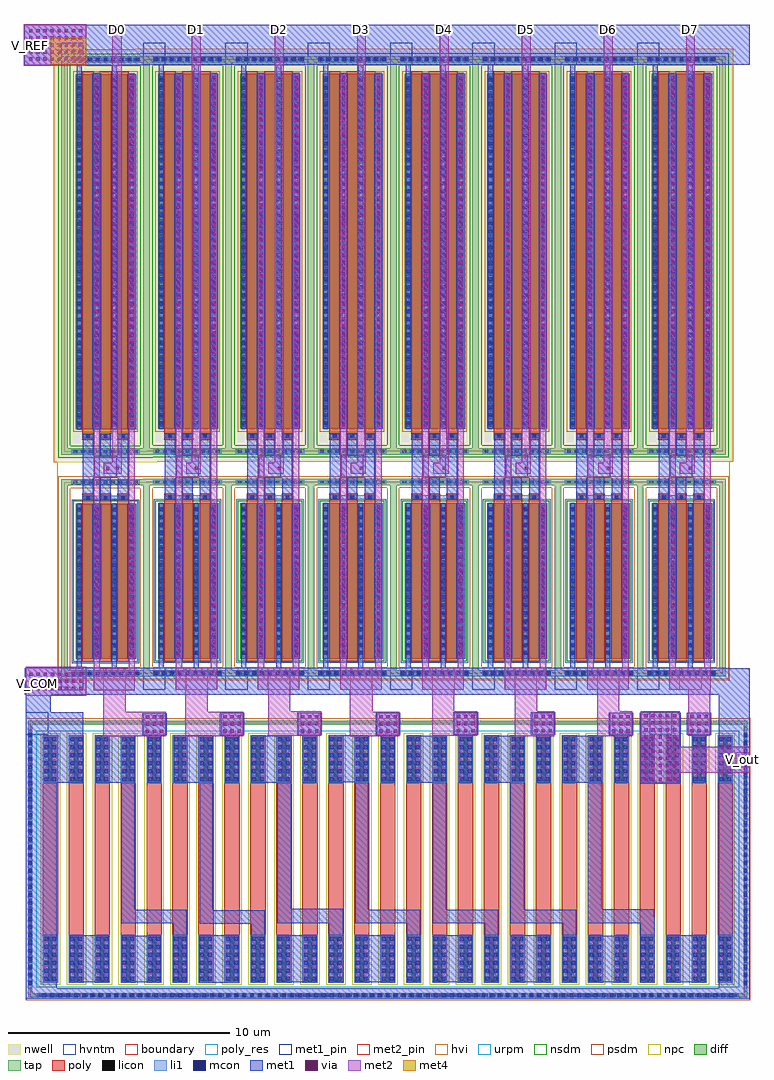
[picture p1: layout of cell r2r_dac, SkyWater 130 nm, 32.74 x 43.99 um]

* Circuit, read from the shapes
.subckt r2r_dac D0 D1 D2 D3 D4 D5 D6 D7 V_COM V_REF V_out
XM1 R2R_20k_0/B0 D0 V_COM V_COM sky130_fd_pr__nfet_g5v0d10v5 w=7 l=0.5 m=3
XM2 R2R_20k_0/B1 D1 V_COM V_COM sky130_fd_pr__nfet_g5v0d10v5 w=7 l=0.5 m=3
XM3 R2R_20k_0/B2 D2 V_COM V_COM sky130_fd_pr__nfet_g5v0d10v5 w=7 l=0.5 m=3
XM4 R2R_20k_0/B3 D3 V_COM V_COM sky130_fd_pr__nfet_g5v0d10v5 w=7 l=0.5 m=3
XM5 R2R_20k_0/B4 D4 V_COM V_COM sky130_fd_pr__nfet_g5v0d10v5 w=7 l=0.5 m=3
XM6 R2R_20k_0/B5 D5 V_COM V_COM sky130_fd_pr__nfet_g5v0d10v5 w=7 l=0.5 m=3
XM7 R2R_20k_0/B6 D6 V_COM V_COM sky130_fd_pr__nfet_g5v0d10v5 w=7 l=0.5 m=3
XM8 R2R_20k_0/B7 D7 V_COM V_COM sky130_fd_pr__nfet_g5v0d10v5 w=7 l=0.5 m=3
XM9 R2R_20k_0/B0 D0 V_REF V_REF sky130_fd_pr__pfet_g5v0d10v5 w=16 l=0.5 m=3
XM10 R2R_20k_0/B1 D1 V_REF V_REF sky130_fd_pr__pfet_g5v0d10v5 w=16 l=0.5 m=3
XM11 R2R_20k_0/B2 D2 V_REF V_REF sky130_fd_pr__pfet_g5v0d10v5 w=16 l=0.5 m=3
XM12 R2R_20k_0/B3 D3 V_REF V_REF sky130_fd_pr__pfet_g5v0d10v5 w=16 l=0.5 m=3
XM13 R2R_20k_0/B4 D4 V_REF V_REF sky130_fd_pr__pfet_g5v0d10v5 w=16 l=0.5 m=3
XM14 R2R_20k_0/B5 D5 V_REF V_REF sky130_fd_pr__pfet_g5v0d10v5 w=16 l=0.5 m=3
XM15 R2R_20k_0/B6 D6 V_REF V_REF sky130_fd_pr__pfet_g5v0d10v5 w=16 l=0.5 m=3
XM16 R2R_20k_0/B7 D7 V_REF V_REF sky130_fd_pr__pfet_g5v0d10v5 w=16 l=0.5 m=3
XR17 V_COM V_COM V_COM sky130_fd_pr__res_xhigh_po w=0.69 l=6.88 m=2
XR18 V_COM n1 V_COM sky130_fd_pr__res_xhigh_po w=0.69 l=6.88
XR19 n2 n1 V_COM sky130_fd_pr__res_xhigh_po w=0.69 l=6.88
XR20 n2 n3 V_COM sky130_fd_pr__res_xhigh_po w=0.69 l=6.88
XR21 R2R_20k_0/B0 n3 V_COM sky130_fd_pr__res_xhigh_po w=0.69 l=6.88
XR22 n4 n2 V_COM sky130_fd_pr__res_xhigh_po w=0.69 l=6.88
XR23 n4 n5 V_COM sky130_fd_pr__res_xhigh_po w=0.69 l=6.88
XR24 R2R_20k_0/B1 n5 V_COM sky130_fd_pr__res_xhigh_po w=0.69 l=6.88
XR25 n6 n4 V_COM sky130_fd_pr__res_xhigh_po w=0.69 l=6.88
XR26 n6 n7 V_COM sky130_fd_pr__res_xhigh_po w=0.69 l=6.88
XR27 R2R_20k_0/B2 n7 V_COM sky130_fd_pr__res_xhigh_po w=0.69 l=6.88
XR28 n8 n6 V_COM sky130_fd_pr__res_xhigh_po w=0.69 l=6.88
XR29 n8 n9 V_COM sky130_fd_pr__res_xhigh_po w=0.69 l=6.88
XR30 R2R_20k_0/B3 n9 V_COM sky130_fd_pr__res_xhigh_po w=0.69 l=6.88
XR31 n10 n8 V_COM sky130_fd_pr__res_xhigh_po w=0.69 l=6.88
XR32 n10 n11 V_COM sky130_fd_pr__res_xhigh_po w=0.69 l=6.88
XR33 R2R_20k_0/B4 n11 V_COM sky130_fd_pr__res_xhigh_po w=0.69 l=6.88
XR34 n12 n10 V_COM sky130_fd_pr__res_xhigh_po w=0.69 l=6.88
XR35 n12 n13 V_COM sky130_fd_pr__res_xhigh_po w=0.69 l=6.88
XR36 R2R_20k_0/B5 n13 V_COM sky130_fd_pr__res_xhigh_po w=0.69 l=6.88
XR37 n14 n12 V_COM sky130_fd_pr__res_xhigh_po w=0.69 l=6.88
XR38 n14 n15 V_COM sky130_fd_pr__res_xhigh_po w=0.69 l=6.88
XR39 R2R_20k_0/B6 n15 V_COM sky130_fd_pr__res_xhigh_po w=0.69 l=6.88
XR40 V_out n14 V_COM sky130_fd_pr__res_xhigh_po w=0.69 l=6.88
XR41 V_out n16 V_COM sky130_fd_pr__res_xhigh_po w=0.69 l=6.88
XR42 R2R_20k_0/B7 n16 V_COM sky130_fd_pr__res_xhigh_po w=0.69 l=6.88
.ends

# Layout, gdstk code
import gdstk
lib = gdstk.Library(unit=1e-6, precision=1e-09)
def R(c, l, rs):  # rectangles x0, y0, x1, y1
    for r in rs: c.add(gdstk.rectangle(r[:2], r[2:], *l))
def A(c, l, x, y, w, h, nx, ny, dx, dy):  # array of equal rectangles
    R(c, l, [(x+i*dx, y+j*dy, x+i*dx+w, y+j*dy+h) for i in range(nx) for j in range(ny)])
nwell = (64, 20)
diff = (65, 20)
tap = (65, 44)
poly_res = (66, 13)
poly = (66, 20)
licon = (66, 44)
li1 = (67, 20)
mcon = (67, 44)
met1_pin = (68, 16)
met1 = (68, 20)
via = (68, 44)
met2_pin = (69, 16)
met2 = (69, 20)
met4 = (71, 20)
hvi = (75, 20)
urpm = (79, 20)
nsdm = (93, 44)
psdm = (94, 20)
npc = (95, 20)
hvntm = (125, 20)
boundary = (235, 4)

sky130_fd_pr__res_xhigh_ = lib.new_cell('sky130_fd_pr__res_xhigh_po_0p69_C3M8XK')
R(sky130_fd_pr__res_xhigh_, tap, [(-16.205,-6.23,16.205,-6.06), (-16.205,-6.06,-16.035,6.06), (16.035,-6.06,16.205,6.06), (-16.205,6.06,16.205,6.23)])
A(sky130_fd_pr__res_xhigh_, poly_res, -15.555, -3.5, 0.69, 7, 27, 1, 1.17, 0)
A(sky130_fd_pr__res_xhigh_, poly, -15.555, -5.58, 0.69, 11.16, 27, 1, 1.17, 0)
A(sky130_fd_pr__res_xhigh_, licon, -15.725, -6.23, 0.17, 0.17, 93, 1, 0.34, 0)
A(sky130_fd_pr__res_xhigh_, licon, -16.205, -5.695, 0.17, 0.17, 1, 34, 0, 0.34)
A(sky130_fd_pr__res_xhigh_, licon, 16.035, -5.695, 0.17, 0.17, 1, 34, 0, 0.34)
A(sky130_fd_pr__res_xhigh_, licon, -15.305, -5.5, 0.19, 2, 27, 2, 1.17, 9)
A(sky130_fd_pr__res_xhigh_, li1, -15.555, -5.58, 0.69, 2.16, 27, 2, 1.17, 9)
R(sky130_fd_pr__res_xhigh_, li1, [(-15.805,-6.23,15.805,-6.06), (-16.205,-5.83,-16.035,5.83), (16.035,-5.83,16.205,5.83)])
A(sky130_fd_pr__res_xhigh_, mcon, -15.475, -5.485, 0.17, 0.17, 1, 6, 0, 0.36)
A(sky130_fd_pr__res_xhigh_, mcon, -15.115, -5.485, 0.17, 0.17, 1, 6, 0, 0.36)
A(sky130_fd_pr__res_xhigh_, mcon, -14.305, -5.485, 0.17, 0.17, 1, 6, 0, 0.36)
A(sky130_fd_pr__res_xhigh_, mcon, -13.945, -5.485, 0.17, 0.17, 1, 6, 0, 0.36)
A(sky130_fd_pr__res_xhigh_, mcon, -13.135, -5.485, 0.17, 0.17, 1, 6, 0, 0.36)
A(sky130_fd_pr__res_xhigh_, mcon, -12.775, -5.485, 0.17, 0.17, 1, 6, 0, 0.36)
A(sky130_fd_pr__res_xhigh_, mcon, -11.965, -5.485, 0.17, 0.17, 1, 6, 0, 0.36)
A(sky130_fd_pr__res_xhigh_, mcon, -11.605, -5.485, 0.17, 0.17, 1, 6, 0, 0.36)
A(sky130_fd_pr__res_xhigh_, mcon, -10.795, -5.485, 0.17, 0.17, 1, 6, 0, 0.36)
A(sky130_fd_pr__res_xhigh_, mcon, -10.435, -5.485, 0.17, 0.17, 1, 6, 0, 0.36)
A(sky130_fd_pr__res_xhigh_, mcon, -9.625, -5.485, 0.17, 0.17, 1, 6, 0, 0.36)
A(sky130_fd_pr__res_xhigh_, mcon, -9.265, -5.485, 0.17, 0.17, 1, 6, 0, 0.36)
A(sky130_fd_pr__res_xhigh_, mcon, -8.455, -5.485, 0.17, 0.17, 1, 6, 0, 0.36)
A(sky130_fd_pr__res_xhigh_, mcon, -8.095, -5.485, 0.17, 0.17, 1, 6, 0, 0.36)
A(sky130_fd_pr__res_xhigh_, mcon, -7.285, -5.485, 0.17, 0.17, 1, 6, 0, 0.36)
A(sky130_fd_pr__res_xhigh_, mcon, -6.925, -5.485, 0.17, 0.17, 1, 6, 0, 0.36)
A(sky130_fd_pr__res_xhigh_, mcon, -6.115, -5.485, 0.17, 0.17, 1, 6, 0, 0.36)
A(sky130_fd_pr__res_xhigh_, mcon, -5.755, -5.485, 0.17, 0.17, 1, 6, 0, 0.36)
A(sky130_fd_pr__res_xhigh_, mcon, -4.945, -5.485, 0.17, 0.17, 1, 6, 0, 0.36)
A(sky130_fd_pr__res_xhigh_, mcon, -4.585, -5.485, 0.17, 0.17, 1, 6, 0, 0.36)
A(sky130_fd_pr__res_xhigh_, mcon, -3.775, -5.485, 0.17, 0.17, 1, 6, 0, 0.36)
A(sky130_fd_pr__res_xhigh_, mcon, -3.415, -5.485, 0.17, 0.17, 1, 6, 0, 0.36)
A(sky130_fd_pr__res_xhigh_, mcon, -2.605, -5.485, 0.17, 0.17, 1, 6, 0, 0.36)
A(sky130_fd_pr__res_xhigh_, mcon, -2.245, -5.485, 0.17, 0.17, 1, 6, 0, 0.36)
A(sky130_fd_pr__res_xhigh_, mcon, -1.435, -5.485, 0.17, 0.17, 1, 6, 0, 0.36)
A(sky130_fd_pr__res_xhigh_, mcon, -1.075, -5.485, 0.17, 0.17, 1, 6, 0, 0.36)
A(sky130_fd_pr__res_xhigh_, mcon, -0.265, -5.485, 0.17, 0.17, 1, 6, 0, 0.36)
A(sky130_fd_pr__res_xhigh_, mcon, 0.095, -5.485, 0.17, 0.17, 1, 6, 0, 0.36)
A(sky130_fd_pr__res_xhigh_, mcon, 0.905, -5.485, 0.17, 0.17, 1, 6, 0, 0.36)
A(sky130_fd_pr__res_xhigh_, mcon, 1.265, -5.485, 0.17, 0.17, 1, 6, 0, 0.36)
A(sky130_fd_pr__res_xhigh_, mcon, 2.075, -5.485, 0.17, 0.17, 1, 6, 0, 0.36)
A(sky130_fd_pr__res_xhigh_, mcon, 2.435, -5.485, 0.17, 0.17, 1, 6, 0, 0.36)
A(sky130_fd_pr__res_xhigh_, mcon, 3.245, -5.485, 0.17, 0.17, 1, 6, 0, 0.36)
A(sky130_fd_pr__res_xhigh_, mcon, 3.605, -5.485, 0.17, 0.17, 1, 6, 0, 0.36)
A(sky130_fd_pr__res_xhigh_, mcon, 4.415, -5.485, 0.17, 0.17, 1, 6, 0, 0.36)
A(sky130_fd_pr__res_xhigh_, mcon, 4.775, -5.485, 0.17, 0.17, 1, 6, 0, 0.36)
A(sky130_fd_pr__res_xhigh_, mcon, 5.585, -5.485, 0.17, 0.17, 1, 6, 0, 0.36)
A(sky130_fd_pr__res_xhigh_, mcon, 5.945, -5.485, 0.17, 0.17, 1, 6, 0, 0.36)
A(sky130_fd_pr__res_xhigh_, mcon, 6.755, -5.485, 0.17, 0.17, 1, 6, 0, 0.36)
A(sky130_fd_pr__res_xhigh_, mcon, 7.115, -5.485, 0.17, 0.17, 1, 6, 0, 0.36)
A(sky130_fd_pr__res_xhigh_, mcon, 7.925, -5.485, 0.17, 0.17, 1, 6, 0, 0.36)
A(sky130_fd_pr__res_xhigh_, mcon, 8.285, -5.485, 0.17, 0.17, 1, 6, 0, 0.36)
A(sky130_fd_pr__res_xhigh_, mcon, 9.095, -5.485, 0.17, 0.17, 1, 6, 0, 0.36)
A(sky130_fd_pr__res_xhigh_, mcon, 9.455, -5.485, 0.17, 0.17, 1, 6, 0, 0.36)
A(sky130_fd_pr__res_xhigh_, mcon, 10.265, -5.485, 0.17, 0.17, 1, 6, 0, 0.36)
A(sky130_fd_pr__res_xhigh_, mcon, 10.625, -5.485, 0.17, 0.17, 1, 6, 0, 0.36)
A(sky130_fd_pr__res_xhigh_, mcon, 11.435, -5.485, 0.17, 0.17, 1, 6, 0, 0.36)
A(sky130_fd_pr__res_xhigh_, mcon, 11.795, -5.485, 0.17, 0.17, 1, 6, 0, 0.36)
A(sky130_fd_pr__res_xhigh_, mcon, 12.605, -5.485, 0.17, 0.17, 1, 6, 0, 0.36)
A(sky130_fd_pr__res_xhigh_, mcon, 12.965, -5.485, 0.17, 0.17, 1, 6, 0, 0.36)
A(sky130_fd_pr__res_xhigh_, mcon, 13.775, -5.485, 0.17, 0.17, 1, 6, 0, 0.36)
A(sky130_fd_pr__res_xhigh_, mcon, 14.135, -5.485, 0.17, 0.17, 1, 6, 0, 0.36)
A(sky130_fd_pr__res_xhigh_, mcon, 14.945, -5.485, 0.17, 0.17, 1, 6, 0, 0.36)
A(sky130_fd_pr__res_xhigh_, mcon, 15.305, -5.485, 0.17, 0.17, 1, 6, 0, 0.36)
A(sky130_fd_pr__res_xhigh_, mcon, -15.475, 3.51, 0.17, 0.17, 1, 6, 0, 0.36)
A(sky130_fd_pr__res_xhigh_, mcon, -15.115, 3.51, 0.17, 0.17, 1, 6, 0, 0.36)
A(sky130_fd_pr__res_xhigh_, mcon, -14.305, 3.51, 0.17, 0.17, 1, 6, 0, 0.36)
A(sky130_fd_pr__res_xhigh_, mcon, -13.945, 3.51, 0.17, 0.17, 1, 6, 0, 0.36)
A(sky130_fd_pr__res_xhigh_, mcon, -13.135, 3.51, 0.17, 0.17, 1, 6, 0, 0.36)
A(sky130_fd_pr__res_xhigh_, mcon, -12.775, 3.51, 0.17, 0.17, 1, 6, 0, 0.36)
A(sky130_fd_pr__res_xhigh_, mcon, -11.965, 3.51, 0.17, 0.17, 1, 6, 0, 0.36)
A(sky130_fd_pr__res_xhigh_, mcon, -11.605, 3.51, 0.17, 0.17, 1, 6, 0, 0.36)
A(sky130_fd_pr__res_xhigh_, mcon, -10.795, 3.51, 0.17, 0.17, 1, 6, 0, 0.36)
A(sky130_fd_pr__res_xhigh_, mcon, -10.435, 3.51, 0.17, 0.17, 1, 6, 0, 0.36)
A(sky130_fd_pr__res_xhigh_, mcon, -9.625, 3.51, 0.17, 0.17, 1, 6, 0, 0.36)
A(sky130_fd_pr__res_xhigh_, mcon, -9.265, 3.51, 0.17, 0.17, 1, 6, 0, 0.36)
A(sky130_fd_pr__res_xhigh_, mcon, -8.455, 3.51, 0.17, 0.17, 1, 6, 0, 0.36)
A(sky130_fd_pr__res_xhigh_, mcon, -8.095, 3.51, 0.17, 0.17, 1, 6, 0, 0.36)
A(sky130_fd_pr__res_xhigh_, mcon, -7.285, 3.51, 0.17, 0.17, 1, 6, 0, 0.36)
A(sky130_fd_pr__res_xhigh_, mcon, -6.925, 3.51, 0.17, 0.17, 1, 6, 0, 0.36)
A(sky130_fd_pr__res_xhigh_, mcon, -6.115, 3.51, 0.17, 0.17, 1, 6, 0, 0.36)
A(sky130_fd_pr__res_xhigh_, mcon, -5.755, 3.51, 0.17, 0.17, 1, 6, 0, 0.36)
A(sky130_fd_pr__res_xhigh_, mcon, -4.945, 3.51, 0.17, 0.17, 1, 6, 0, 0.36)
A(sky130_fd_pr__res_xhigh_, mcon, -4.585, 3.51, 0.17, 0.17, 1, 6, 0, 0.36)
A(sky130_fd_pr__res_xhigh_, mcon, -3.775, 3.51, 0.17, 0.17, 1, 6, 0, 0.36)
A(sky130_fd_pr__res_xhigh_, mcon, -3.415, 3.51, 0.17, 0.17, 1, 6, 0, 0.36)
A(sky130_fd_pr__res_xhigh_, mcon, -2.605, 3.51, 0.17, 0.17, 1, 6, 0, 0.36)
A(sky130_fd_pr__res_xhigh_, mcon, -2.245, 3.51, 0.17, 0.17, 1, 6, 0, 0.36)
A(sky130_fd_pr__res_xhigh_, mcon, -1.435, 3.51, 0.17, 0.17, 1, 6, 0, 0.36)
A(sky130_fd_pr__res_xhigh_, mcon, -1.075, 3.51, 0.17, 0.17, 1, 6, 0, 0.36)
A(sky130_fd_pr__res_xhigh_, mcon, -0.265, 3.51, 0.17, 0.17, 1, 6, 0, 0.36)
A(sky130_fd_pr__res_xhigh_, mcon, 0.095, 3.51, 0.17, 0.17, 1, 6, 0, 0.36)
A(sky130_fd_pr__res_xhigh_, mcon, 0.905, 3.51, 0.17, 0.17, 1, 6, 0, 0.36)
A(sky130_fd_pr__res_xhigh_, mcon, 1.265, 3.51, 0.17, 0.17, 1, 6, 0, 0.36)
A(sky130_fd_pr__res_xhigh_, mcon, 2.075, 3.51, 0.17, 0.17, 1, 6, 0, 0.36)
A(sky130_fd_pr__res_xhigh_, mcon, 2.435, 3.51, 0.17, 0.17, 1, 6, 0, 0.36)
A(sky130_fd_pr__res_xhigh_, mcon, 3.245, 3.51, 0.17, 0.17, 1, 6, 0, 0.36)
A(sky130_fd_pr__res_xhigh_, mcon, 3.605, 3.51, 0.17, 0.17, 1, 6, 0, 0.36)
A(sky130_fd_pr__res_xhigh_, mcon, 4.415, 3.51, 0.17, 0.17, 1, 6, 0, 0.36)
A(sky130_fd_pr__res_xhigh_, mcon, 4.775, 3.51, 0.17, 0.17, 1, 6, 0, 0.36)
A(sky130_fd_pr__res_xhigh_, mcon, 5.585, 3.51, 0.17, 0.17, 1, 6, 0, 0.36)
A(sky130_fd_pr__res_xhigh_, mcon, 5.945, 3.51, 0.17, 0.17, 1, 6, 0, 0.36)
A(sky130_fd_pr__res_xhigh_, mcon, 6.755, 3.51, 0.17, 0.17, 1, 6, 0, 0.36)
A(sky130_fd_pr__res_xhigh_, mcon, 7.115, 3.51, 0.17, 0.17, 1, 6, 0, 0.36)
A(sky130_fd_pr__res_xhigh_, mcon, 7.925, 3.51, 0.17, 0.17, 1, 6, 0, 0.36)
A(sky130_fd_pr__res_xhigh_, mcon, 8.285, 3.51, 0.17, 0.17, 1, 6, 0, 0.36)
A(sky130_fd_pr__res_xhigh_, mcon, 9.095, 3.51, 0.17, 0.17, 1, 6, 0, 0.36)
A(sky130_fd_pr__res_xhigh_, mcon, 9.455, 3.51, 0.17, 0.17, 1, 6, 0, 0.36)
A(sky130_fd_pr__res_xhigh_, mcon, 10.265, 3.51, 0.17, 0.17, 1, 6, 0, 0.36)
A(sky130_fd_pr__res_xhigh_, mcon, 10.625, 3.51, 0.17, 0.17, 1, 6, 0, 0.36)
A(sky130_fd_pr__res_xhigh_, mcon, 11.435, 3.51, 0.17, 0.17, 1, 6, 0, 0.36)
A(sky130_fd_pr__res_xhigh_, mcon, 11.795, 3.51, 0.17, 0.17, 1, 6, 0, 0.36)
A(sky130_fd_pr__res_xhigh_, mcon, 12.605, 3.51, 0.17, 0.17, 1, 6, 0, 0.36)
A(sky130_fd_pr__res_xhigh_, mcon, 12.965, 3.51, 0.17, 0.17, 1, 6, 0, 0.36)
A(sky130_fd_pr__res_xhigh_, mcon, 13.775, 3.51, 0.17, 0.17, 1, 6, 0, 0.36)
A(sky130_fd_pr__res_xhigh_, mcon, 14.135, 3.51, 0.17, 0.17, 1, 6, 0, 0.36)
A(sky130_fd_pr__res_xhigh_, mcon, 14.945, 3.51, 0.17, 0.17, 1, 6, 0, 0.36)
A(sky130_fd_pr__res_xhigh_, mcon, 15.305, 3.51, 0.17, 0.17, 1, 6, 0, 0.36)
A(sky130_fd_pr__res_xhigh_, met1, -15.505, -5.55, 0.59, 2.105, 27, 2, 1.17, 8.995)
R(sky130_fd_pr__res_xhigh_, urpm, [(-15.845,-5.78,15.845,5.78)])
R(sky130_fd_pr__res_xhigh_, psdm, [(-16.33,-6.355,16.33,6.355)])
A(sky130_fd_pr__res_xhigh_, npc, -15.65, -5.675, 0.88, 11.35, 27, 1, 1.17, 0)
R(sky130_fd_pr__res_xhigh_, boundary, [(-16.12,-6.145,16.12,6.145)])

r2r_20k = lib.new_cell('R2R_20k')
R(r2r_20k, li1, [(12.25,-14.84,43.7,-14.67), (11.77,-14.36,11.94,-2.86), (44.01,-14.36,44.18,-2.86)])
A(r2r_20k, mcon, 12.41, -14.84, 0.17, 0.17, 87, 1, 0.36, 0)
A(r2r_20k, mcon, 11.77, -14.275, 0.17, 0.17, 1, 32, 0, 0.36)
A(r2r_20k, mcon, 44.01, -14.275, 0.17, 0.17, 1, 32, 0, 0.36)
R(r2r_20k, met1_pin, [(16.96,-3.03,17.96,-2.03), (20.46,-3.02,21.46,-2.02), (23.95,-3.02,24.95,-2.02), (27.48,-3.02,28.48,-2.02), (30.98,-3.01,31.98,-2.01), (34.48,-3.01,35.48,-2.01), (37.99,-3.01,38.99,-2.01), (41.51,-3.01,42.51,-2.01), (11.66,-3,12.66,-2), (39.78,-3,40.78,-2)])
A(r2r_20k, met1, 31.19, -5.17, 0.59, 2.16, 4, 1, 3.51, 0)
R(r2r_20k, met1, [(11.66,-14.9,44.29,-14.44), (11.66,-14.44,13.06,-5.17), (42.89,-14.44,44.29,-2.2), (19.47,-14.19,21.25,-12.04), (15.99,-14.17,17.75,-12.06), (22.99,-14.17,24.78,-12.05), (26.51,-14.17,28.28,-12.05), (13.64,-14.16,15.4,-12.05), (18.3,-14.16,18.61,-12.82), (21.83,-14.16,22.44,-11.52), (25.32,-14.16,25.96,-11.5), (28.83,-14.16,29.44,-11.5), (30.02,-14.16,31.77,-12.05), (32.34,-14.16,32.96,-11.51), (33.53,-14.16,35.3,-12.05), (35.86,-14.16,36.47,-11.5), (37.04,-14.16,38.8,-12.06), (39.35,-14.16,40,-11.5), (40.55,-14.16,42.31,-12.05), (18.3,-12.82,18.9,-12.78), (18.3,-12.78,18.91,-11.5), (19.5,-11.52,22.44,-10.955), (30,-11.51,32.96,-10.9), (15.97,-11.5,18.91,-10.9), (22.99,-11.5,25.96,-10.86), (26.5,-11.5,29.44,-10.9), (33.5,-11.5,36.47,-10.9), (37,-11.5,40,-11.23), (37,-11.23,39.995,-10.87), (19.5,-10.955,22.435,-10.93), (19.5,-10.93,20.09,-5.18), (15.97,-10.9,16.57,-5.17), (26.5,-10.9,27.1,-5.16), (30,-10.9,30.61,-5.17), (33.5,-10.9,34.12,-5.17), (37,-10.87,37.63,-5.17), (22.99,-10.86,23.63,-5.18), (18.33,-5.18,20.09,-5.15), (20.64,-5.18,21.26,-3.02), (21.84,-5.18,23.63,-3.06), (11.66,-5.17,14.24,-2), (14.81,-5.17,16.57,-3.06), (17.15,-5.17,17.74,-3.03), (27.68,-5.17,28.28,-3.02), (28.86,-5.17,30.61,-3.06), (32.35,-5.17,34.12,-3.06), (35.85,-5.17,37.63,-3.05), (39.38,-5.17,41.14,-2), (25.33,-5.16,27.1,-3.04), (18.33,-5.15,20.07,-3.04), (24.15,-5.15,24.76,-3.02), (32.35,-3.06,34.11,-3.05), (16.96,-3.03,17.96,-2.03), (20.46,-3.02,21.46,-2.02), (23.95,-3.02,24.95,-2.02), (27.48,-3.02,28.48,-2.02), (30.98,-3.01,31.98,-2.01), (34.48,-3.01,35.48,-2.01), (37.99,-3.01,38.99,-2.01), (41.51,-3.01,42.51,-2.01)])
r2r_20k.add(gdstk.Reference(sky130_fd_pr__res_xhigh_, (27.975,-8.61)))
r2r_20k.add(gdstk.Label('B1', (20.96,-2.52), layer=68, texttype=5))
r2r_20k.add(gdstk.Label('B0', (17.46,-2.53), layer=68, texttype=5))
r2r_20k.add(gdstk.Label('B2', (24.45,-2.52), layer=68, texttype=5))
r2r_20k.add(gdstk.Label('B3', (27.98,-2.52), layer=68, texttype=5))
r2r_20k.add(gdstk.Label('B7', (42.01,-2.51), layer=68, texttype=5))
r2r_20k.add(gdstk.Label('B4', (31.48,-2.51), layer=68, texttype=5))
r2r_20k.add(gdstk.Label('B6', (38.49,-2.51), layer=68, texttype=5))
r2r_20k.add(gdstk.Label('B5', (34.98,-2.51), layer=68, texttype=5))
r2r_20k.add(gdstk.Label('COM', (12.16,-2.5), layer=68, texttype=5))
r2r_20k.add(gdstk.Label('OUT', (40.28,-2.5), layer=68, texttype=5))

sky130_fd_pr__nfet_g5v0d = lib.new_cell('sky130_fd_pr__nfet_g5v0d10v5_GUT4ZJ')
R(sky130_fd_pr__nfet_g5v0d, diff, [(-1.33,-3.655,1.33,3.345)])
R(sky130_fd_pr__nfet_g5v0d, tap, [(-2,-4.455,2,-4.165), (-2,-4.165,-1.71,4.165), (1.71,-4.165,2,4.165), (-2,4.165,2,4.455)])
A(sky130_fd_pr__nfet_g5v0d, poly, -1.04, -3.785, 0.5, 7.57, 3, 1, 0.79, 0)
A(sky130_fd_pr__nfet_g5v0d, licon, -1.445, -4.395, 0.17, 0.17, 9, 2, 0.34, 8.62)
A(sky130_fd_pr__nfet_g5v0d, licon, -1.27, -3.47, 0.17, 0.17, 4, 20, 0.79, 0.34)
A(sky130_fd_pr__nfet_g5v0d, licon, -0.875, 3.535, 0.17, 0.17, 3, 1, 0.79, 0)
A(sky130_fd_pr__nfet_g5v0d, li1, -1.27, -3.675, 0.17, 7.04, 4, 1, 0.79, 0)
A(sky130_fd_pr__nfet_g5v0d, li1, -1.04, 3.535, 0.5, 0.17, 3, 1, 0.79, 0)
R(sky130_fd_pr__nfet_g5v0d, li1, [(-1.54,-4.395,1.54,-4.225), (-1.54,4.225,1.54,4.395)])
A(sky130_fd_pr__nfet_g5v0d, mcon, -1.27, -3.48, 0.17, 0.17, 4, 19, 0.79, 0.36)
A(sky130_fd_pr__nfet_g5v0d, mcon, -0.875, 3.535, 0.17, 0.17, 3, 1, 0.79, 0)
A(sky130_fd_pr__nfet_g5v0d, met1, -1.3, -3.655, 0.23, 7, 4, 1, 0.79, 0)
A(sky130_fd_pr__nfet_g5v0d, met1, -1.02, 3.505, 0.46, 0.23, 3, 1, 0.79, 0)
R(sky130_fd_pr__nfet_g5v0d, hvi, [(-2.185,-4.64,2.185,4.64)])
R(sky130_fd_pr__nfet_g5v0d, nsdm, [(-1.455,-3.78,1.455,3.47)])
R(sky130_fd_pr__nfet_g5v0d, psdm, [(-2.125,-4.58,2.125,-4.04), (-2.125,-4.04,-1.585,4.04), (1.585,-4.04,2.125,4.04), (-2.125,4.04,2.125,4.58)])
A(sky130_fd_pr__nfet_g5v0d, npc, -0.975, 3.435, 0.37, 0.37, 3, 1, 0.79, 0)
R(sky130_fd_pr__nfet_g5v0d, hvntm, [(-1.515,-3.84,1.515,3.53)])
R(sky130_fd_pr__nfet_g5v0d, boundary, [(-1.855,-4.31,1.855,4.31)])

sky130_fd_pr__pfet_g5v0d = lib.new_cell('sky130_fd_pr__pfet_g5v0d10v5_U8PLV5')
R(sky130_fd_pr__pfet_g5v0d, nwell, [(-2.33,-9.31,2.33,9.31)])
R(sky130_fd_pr__pfet_g5v0d, diff, [(-1.33,-7.82,1.33,8.18)])
R(sky130_fd_pr__pfet_g5v0d, tap, [(-2,-8.98,2,-8.69), (-2,-8.69,-1.71,8.69), (1.71,-8.69,2,8.69), (-2,8.69,2,8.98)])
A(sky130_fd_pr__pfet_g5v0d, poly, -1.04, -8.305, 0.5, 16.615, 3, 1, 0.79, 0)
A(sky130_fd_pr__pfet_g5v0d, licon, -1.445, -8.92, 0.17, 0.17, 9, 2, 0.34, 17.67)
A(sky130_fd_pr__pfet_g5v0d, licon, -0.875, -8.225, 0.17, 0.17, 3, 1, 0.79, 0)
A(sky130_fd_pr__pfet_g5v0d, licon, -1.27, -7.725, 0.17, 0.17, 4, 47, 0.79, 0.34)
A(sky130_fd_pr__pfet_g5v0d, li1, -1.04, -8.225, 0.5, 0.17, 3, 1, 0.79, 0)
A(sky130_fd_pr__pfet_g5v0d, li1, -1.27, -7.84, 0.17, 16.04, 4, 1, 0.79, 0)
R(sky130_fd_pr__pfet_g5v0d, li1, [(-1.54,-8.92,1.54,-8.75), (-1.54,8.75,1.54,8.92)])
A(sky130_fd_pr__pfet_g5v0d, mcon, -0.875, -8.225, 0.17, 0.17, 3, 1, 0.79, 0)
A(sky130_fd_pr__pfet_g5v0d, mcon, -1.27, -7.645, 0.17, 0.17, 4, 44, 0.79, 0.36)
A(sky130_fd_pr__pfet_g5v0d, met1, -1.02, -8.255, 0.46, 0.23, 3, 1, 0.79, 0)
A(sky130_fd_pr__pfet_g5v0d, met1, -1.3, -7.82, 0.23, 16, 4, 1, 0.79, 0)
R(sky130_fd_pr__pfet_g5v0d, hvi, [(-2.33,-9.31,2.33,9.31)])
R(sky130_fd_pr__pfet_g5v0d, nsdm, [(-2.125,-9.105,2.125,-8.565), (-2.125,-8.565,-1.585,8.565), (1.585,-8.565,2.125,8.565), (-2.125,8.565,2.125,9.105)])
R(sky130_fd_pr__pfet_g5v0d, psdm, [(-1.455,-7.945,1.455,8.305)])
A(sky130_fd_pr__pfet_g5v0d, npc, -0.975, -8.325, 0.37, 0.37, 3, 1, 0.79, 0)
R(sky130_fd_pr__pfet_g5v0d, boundary, [(-1.855,-8.835,1.855,8.835)])

dac_switch = lib.new_cell('dac_switch')
R(dac_switch, li1, [(4.5,-6.56,7.58,-6.39), (5.08,1.37,7,1.54), (4.5,21.11,7.58,21.28)])
A(dac_switch, mcon, 4.515, -6.56, 0.17, 0.17, 9, 2, 0.36, 27.67)
R(dac_switch, met1_pin, [(4.04,-7.23,5.04,-6.23), (5.54,2.34,6.54,3.34), (4.04,20.95,5.04,21.95)])
A(dac_switch, met1, 5.02, 1.34, 0.46, 1, 3, 2, 0.79, 2)
R(dac_switch, met1, [(4.04,-7.23,8.04,-6.23), (4.74,-6.23,4.97,-5.82), (6.32,-6.23,6.55,-5.82), (5.45,-5.82,5.84,1.18), (7.03,-5.82,7.42,1.18), (5.02,2.34,7.06,3.34), (4.74,4.54,4.97,20.95), (5.45,4.54,5.84,20.55), (6.32,4.54,6.55,20.95), (7.03,4.54,7.42,20.54), (4.04,20.95,8.04,21.95)])
A(dac_switch, via, 5.57, -5.755, 0.15, 0.15, 1, 22, 0, 0.32)
A(dac_switch, via, 7.15, -5.755, 0.15, 0.15, 1, 22, 0, 0.32)
A(dac_switch, via, 7.15, 4.625, 0.15, 0.15, 1, 50, 0, 0.32)
A(dac_switch, via, 5.57, 4.63, 0.15, 0.15, 1, 50, 0, 0.32)
R(dac_switch, met2_pin, [(5.95,-7.23,6.95,-6.23)])
R(dac_switch, met2, [(5.5,-7.23,7.37,-6.23), (5.5,-6.23,5.79,20.6), (7.08,-6.23,7.37,20.59)])
R(dac_switch, hvi, [(3.855,2.475,8.225,3.05)])
dac_switch.add(gdstk.Reference(sky130_fd_pr__nfet_g5v0d, (6.04,-2.165)))
dac_switch.add(gdstk.Reference(sky130_fd_pr__pfet_g5v0d, (6.04,12.36)))
dac_switch.add(gdstk.Label('Vref', (4.54,21.45), layer=68, texttype=5))
dac_switch.add(gdstk.Label('Dx', (6.04,2.84), layer=68, texttype=5))
dac_switch.add(gdstk.Label('Outx', (6.45,-6.73), layer=69, texttype=5))
dac_switch.add(gdstk.Label('Vcom', (4.54,-6.73), layer=68, texttype=5))

r2r_dac = lib.new_cell('r2r_dac')
A(r2r_dac, met1, 12.69, 10.2, 0.5, 0.01, 4, 1, 3.7, 0)
R(r2r_dac, met1, [(21.75,-4.17,23.6,-1.01), (-5.93,-2.21,-4.8,-0.2), (-0.67,-2.03,0.43,-1.03), (2.83,-2.02,3.93,-1.02), (9.86,-2.02,10.96,-1.02), (20.35,-2.02,21.46,-1.01), (6.32,-2.01,7.43,-1.02), (13.35,-2.01,14.47,-1), (16.85,-2.01,17.95,-1), (23.88,-2.01,24.98,-1.01), (25.31,-1.2,26.71,-0.2), (-5.98,-0.2,26.71,1), (-5.93,1,25.56,1.01), (-2.45,9.8,-1.55,9.855), (1.26,9.8,2.02,10.2), (4.96,9.8,5.75,10.2), (8.67,9.8,9.46,10.2), (12.39,9.8,13.19,10.2), (16.11,9.8,16.89,10.2), (19.84,9.8,20.59,10.2), (23.51,9.8,24.29,10.2), (-2.45,9.855,-1.305,10.2), (-2.335,10.2,-2.2,10.29), (-2.05,10.2,-1.305,10.21), (1.52,10.2,2.02,10.21), (5.25,10.2,5.75,10.21), (8.96,10.2,9.46,10.21), (-1.7,10.21,-1.305,10.29), (-2.2,10.3,-1.73,10.32), (-2.2,10.32,-1.8,10.4), (-6,28.17,-3.13,28.19), (-6,28.19,26.71,29.98), (-5.95,29.98,26.71,29.99)])
A(r2r_dac, via, 21.96, -4.105, 0.15, 0.15, 5, 10, 0.32, 0.32)
A(r2r_dac, via, -0.515, -1.925, 0.15, 0.15, 3, 3, 0.32, 0.32)
A(r2r_dac, via, 2.985, -1.915, 0.15, 0.15, 3, 3, 0.32, 0.32)
A(r2r_dac, via, 10.015, -1.915, 0.15, 0.15, 3, 3, 0.32, 0.32)
A(r2r_dac, via, 6.48, -1.91, 0.15, 0.15, 3, 3, 0.32, 0.32)
A(r2r_dac, via, 20.51, -1.91, 0.15, 0.15, 3, 3, 0.32, 0.32)
A(r2r_dac, via, 24.035, -1.905, 0.15, 0.15, 3, 3, 0.32, 0.32)
A(r2r_dac, via, 13.515, -1.9, 0.15, 0.15, 3, 3, 0.32, 0.32)
A(r2r_dac, via, 17.005, -1.9, 0.15, 0.15, 3, 3, 0.32, 0.32)
A(r2r_dac, via, -5.76, 0.005, 0.15, 0.15, 8, 3, 0.32, 0.32)
A(r2r_dac, via, 12.865, 9.93, 0.15, 0.15, 4, 1, 3.7, 0)
A(r2r_dac, via, -5.77, 28.37, 0.15, 0.15, 8, 5, 0.32, 0.32)
R(r2r_dac, via, [(-2.305,9.925,-2.155,10.075), (-1.875,9.93,-1.725,10.08), (1.695,9.93,1.845,10.08), (5.425,9.93,5.575,10.08), (9.135,9.93,9.285,10.08)])
A(r2r_dac, met2_pin, 12.74, 29.6, 0.4, 0.39, 4, 1, 3.7, 0)
R(r2r_dac, met2_pin, [(26.07,-3.47,26.73,-2.8), (-2.02,29.6,-1.6,29.99), (1.57,29.6,1.97,29.99), (5.3,29.6,5.7,29.99), (9.01,29.6,9.41,29.99)])
A(r2r_dac, met2, 12.74, 10.25, 0.4, 19.74, 4, 1, 3.7, 0)
R(r2r_dac, met2, [(21.8,-4.22,23.55,-3.72), (21.8,-3.72,26.71,-2.56), (21.8,-2.56,23.55,-0.96), (-2.42,-2.08,0.39,-0.98), (1.27,-2.08,3.87,-2.07), (8.69,-2.08,10.91,-0.97), (1.27,-2.07,3.88,-0.97), (16.12,-2.07,17.9,-0.94), (19.83,-2.07,21.41,-0.96), (5,-2.06,7.4,-0.96), (12.4,-2.06,14.42,-0.95), (23.93,-2.06,24.93,0.01), (-2.42,-0.98,-1.41,1), (1.27,-0.97,2.28,1.01), (8.69,-0.97,9.71,1.01), (5,-0.96,5.99,1.01), (19.83,-0.96,20.83,1.01), (12.4,-0.95,13.4,1), (16.12,-0.94,17.13,1.01), (-5.93,-0.25,-3.2,1.05), (23.54,0.01,24.93,1.01), (-2.4,9.75,-1.6,10.25), (1.31,9.75,1.97,10.25), (5.01,9.75,5.7,10.25), (8.72,9.75,9.41,10.25), (12.44,9.75,13.14,10.25), (16.16,9.75,16.84,10.25), (19.89,9.75,20.54,10.25), (23.56,9.75,24.24,10.25), (-2.015,10.25,-1.6,29.1), (1.57,10.25,1.97,29.99), (5.3,10.25,5.7,29.99), (9.01,10.25,9.41,29.99), (-6.01,28.14,-3.2,30.03), (-2.02,29.1,-1.6,29.99)])
R(r2r_dac, met4, [(-4.805,28.185,-3.195,29.405)])
R(r2r_dac, hvntm, [(2.885,1.235,2.895,8.605), (3.555,1.235,3.565,8.605), (6.595,1.235,6.605,8.605), (7.265,1.235,7.275,8.605), (10.305,1.235,10.315,8.605), (10.975,1.235,10.985,8.605), (14.015,1.235,14.025,8.605), (14.685,1.235,14.695,8.605), (17.725,1.235,17.735,8.605), (18.395,1.235,18.405,8.605), (21.435,1.235,21.445,8.605), (22.105,1.235,22.115,8.605)])
r2r_dac.add(gdstk.Reference(r2r_20k, (-17.58,1)))
r2r_dac.add(gdstk.Reference(dac_switch, (17.59,7.24)))
r2r_dac.add(gdstk.Reference(dac_switch, (13.88,7.24)))
r2r_dac.add(gdstk.Reference(dac_switch, (10.17,7.24)))
r2r_dac.add(gdstk.Reference(dac_switch, (6.46,7.24)))
r2r_dac.add(gdstk.Reference(dac_switch, (2.75,7.24)))
r2r_dac.add(gdstk.Reference(dac_switch, (-0.96,7.24)))
r2r_dac.add(gdstk.Reference(dac_switch, (-4.67,7.24)))
r2r_dac.add(gdstk.Reference(dac_switch, (-8.37,7.23)))
r2r_dac.add(gdstk.Label('V_out', (26.4,-3.135), layer=69, texttype=5))
r2r_dac.add(gdstk.Label('D7', (24.04,29.795), layer=69, texttype=5))
r2r_dac.add(gdstk.Label('D0', (-1.81,29.795), layer=69, texttype=5))
r2r_dac.add(gdstk.Label('D1', (1.77,29.795), layer=69, texttype=5))
r2r_dac.add(gdstk.Label('D6', (20.34,29.795), layer=69, texttype=5))
r2r_dac.add(gdstk.Label('D2', (5.5,29.795), layer=69, texttype=5))
r2r_dac.add(gdstk.Label('D5', (16.64,29.795), layer=69, texttype=5))
r2r_dac.add(gdstk.Label('D3', (9.21,29.795), layer=69, texttype=5))
r2r_dac.add(gdstk.Label('D4', (12.94,29.795), layer=69, texttype=5))
r2r_dac.add(gdstk.Label('V_REF', (-5.73,29.06), layer=69, texttype=5))
r2r_dac.add(gdstk.Label('V_COM', (-5.4,0.31), layer=69, texttype=5))

lib.write_gds('r2r_dac.gds')
